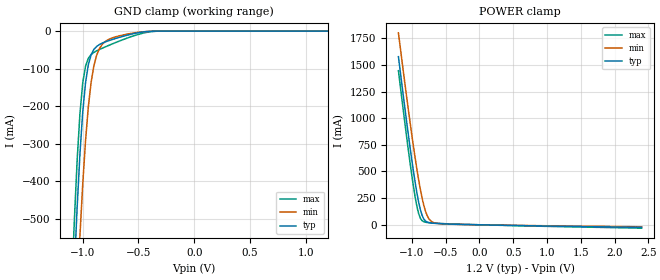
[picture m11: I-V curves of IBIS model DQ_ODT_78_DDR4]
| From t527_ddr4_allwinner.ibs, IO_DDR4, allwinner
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|   Model DQ_ODT_78_DDR4
[Model] DQ_ODT_78_DDR4
Model_type Input
Polarity   Non-Inverting
Enable   Active-High
Vinl =  0.600V
Vinh =  0.600V
C_comp   1.589pF   1.553pF   1.634pF
C_comp_power_clamp   0.486pF   0.469pF   0.508pF
C_comp_gnd_clamp   0.842pF   0.820pF   0.865pF
[Model Spec]
Vinh   0.600V   0.570V   0.630V
Vinl   0.600V   0.570V   0.630V
[Temperature Range]   25.000   0.125k   -40.000
[Voltage Range]   1.200V   1.140V   1.260V
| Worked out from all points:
|   GND clamp passes 1 mA (typ) near -0.42 V on its own axis
|   POWER clamp passes 1 mA (typ) near -0.08 V on its own axis
[GND_clamp]
|Voltage   I(typ)   I(min)   I(max)
-1.2V     -1.577A    -1.764A    -1.485A
-1.1V     -812.1mA   -1.041A    -685mA
-1.075V   -632.7mA   -865.6mA   -502.5mA
-1.05V    -468.2mA   -698.6mA   -343mA
-1.025V   -326.5mA   -544.3mA   -218.8mA
-1V       -215.2mA   -407.3mA   -137.3mA
-950mV    -89.72mA   -202.2mA   -72.46mA
-925mV    -63.08mA   -136.7mA   -62.35mA
-875mV    -40.63mA   -63.92mA   -52.37mA
-775mV    -26.26mA   -23.33mA   -39.03mA
-475mV    -2.942mA   -2.232mA   -6.565mA
1.2V      0A         0A         0A
[POWER_clamp]
|Voltage   I(typ)   I(min)   I(max)
-1.2V     1.577A     1.8A       1.446A
-1.1V     1.073A     1.305A     932.6mA
-1.025V   713.1mA    949.2mA    568.7mA
-975mV    490.6mA    724.4mA    348.8mA
-925mV    293.7mA    515.4mA    168.2mA
-900mV    210.5mA    419.4mA    103.5mA
-850mV    89.91mA    251.8mA    38.69mA
-800mV    35.73mA    128.5mA    23.99mA
-725mV    16.95mA    38.16mA    18.9mA
-625mV    12mA       12.57mA    14.6mA
-375mV    5.166mA    4.522mA    6.226mA
2.4V      -24.58mA   -19.09mA   -31.75mA
